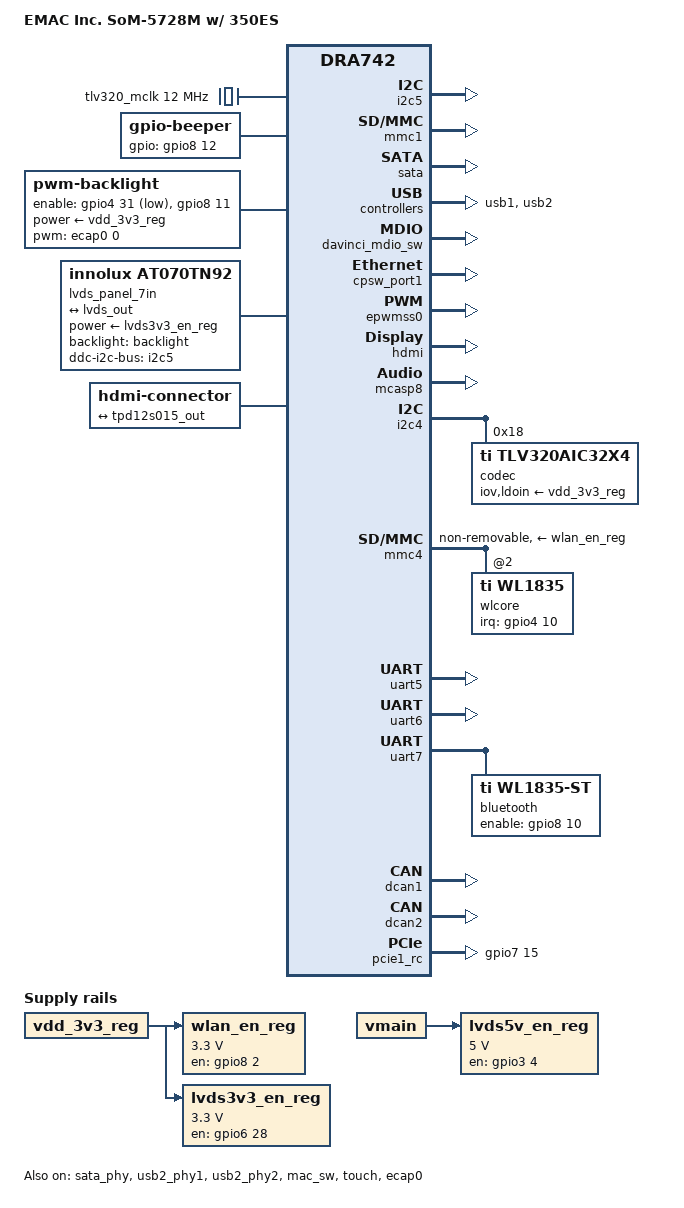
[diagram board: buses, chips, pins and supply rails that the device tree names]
/*
 * Copyright (C) 2023 EMAC Incorporated - http://www.emacinc.com/
 *
 * This program is free software; you can redistribute it and/or modify
 * it under the terms of the GNU General Public License version 2 as
 * published by the Free Software Foundation.
 */
/dts-v1/;

#include "emac-som-5728m.dtsi"

/ {
	model = "EMAC Inc. SoM-5728M w/ 350ES";
	compatible = "emac,som-5728m-350es", "emac,som-5728m", "ti,am5728", "ti,dra742", "ti,dra74", "ti,dra7";
	
	aliases {
		com-a = &uart3;
		com-b = &uart5;
		com-c = &uart6;
		com-d = &uart7;
		display0 = &lvds_panel_7in;
		display1 = &hdmi0_conn;
		display0 = &lvds_panel_10in;
	};

	wlan_en_reg: wlan-en-regulator {
		compatible = "regulator-fixed";
		regulator-name = "wlan-en-regulator";
		regulator-min-microvolt = <3300000>;
		regulator-max-microvolt = <3300000>;
		vin-supply = <&vdd_3v3_reg>;
		gpios = <&gpio8 2 GPIO_ACTIVE_HIGH>;
		startup-delay-us = <100000>;
      	enable-active-high;
	};

	lvds3v3_en_reg: lvds3v3-en-regulator {
		compatible = "regulator-fixed";
		regulator-name = "lvds3v3-en-regulator";
		regulator-min-microvolt = <3300000>;
		regulator-max-microvolt = <3300000>;
		vin-supply = <&vdd_3v3_reg>;
		gpios = <&gpio6 28 GPIO_ACTIVE_HIGH>;
		startup-delay-us = <100000>;
      	enable-active-high;
	};

	lvds5v_en_reg: lvds5v-en-regulator {
		compatible = "regulator-fixed";
		regulator-name = "lvds5v-en-regulator";
		regulator-min-microvolt = <5000000>;
		regulator-max-microvolt = <5000000>;
		vin-supply = <&vmain>;
		gpios = <&gpio3 4 GPIO_ACTIVE_HIGH>;
		startup-delay-us = <100000>;
      	enable-active-high;
	};

	clocks {
		#address-cells = <1>;
		#size-cells = <0>;

		tlv320_mclk: tlv320_mclk {
			#clock-cells = <0>;
			compatible = "fixed-clock";
			clock-frequency = <12000000>;
			clock-output-names = "mclk";
		};
	};
	
	beeper: beeper {
		compatible = "gpio-beeper";
		gpios = <&gpio8 12 GPIO_ACTIVE_HIGH>;
	};

	backlight: backlight {
		compatible = "pwm-backlight";
		pwms = <&ecap0 0 50000 0>;
		power-supply = <&vdd_3v3_reg>;
		enable-gpios = <&gpio4 31 GPIO_ACTIVE_LOW>, <&gpio8 11 GPIO_ACTIVE_HIGH>;
		brightness-levels = <0 10 20 30 40 50 60 70 80 90 100>;
		default-brightness-level = <9>;
	};

	lvds_panel_7in: display {
		compatible = "innolux,at070tn92", "simple-panel";
		backlight = <&backlight>;
		power-supply = <&lvds3v3_en_reg>;
		ddc-i2c-bus = <&i2c5>;
		port {
			lcd_in: endpoint {
				remote-endpoint = <&lvds_out>;
			};
		};
	};
	lvds_panel_10in: display {
		compatible = "innolux,at070tn92", "simple-panel";
		backlight = <&backlight>;
		power-supply = <&lvds5v_en_reg>;
		ddc-i2c-bus = <&i2c5>;
		status = "disabled";
		port {
			lcd_in: endpoint {
				remote-endpoint = <&lvds_out>;
			};
		};
	};

	hdmi0_conn: connector {
		compatible = "hdmi-connector";
		label = "hdmi";
		status = "okay";
		type = "a";

		//native?
		hpd-gpios = <0>;

		port {
			hdmi_connector_in: endpoint {
				remote-endpoint = <&tpd12s015_out>;
			};
		};
	};

	sound {
		compatible = "simple-audio-card";
		simple-audio-card,format = "i2s";
		simple-audio-card,name = "tlv320aic32x4";
		simple-audio-card,bitclock-master = <&codec_master>;
		simple-audio-card,frame-master = <&codec_master>;
		simple-audio-card,bitclock-inversion;
		simple-audio-card,widgets =
			"Microphone", "Microphone Jack",
			"Headphone", "Headphone Jack";
		simple-audio-card,routing =
			"Headphone Jack", "HPL",
			"Headphone Jack", "HPR",
			"IN1_L", "Microphone Jack",
			"IN1_R", "Microphone Jack",
			"Microphone Jack", "Mic Bias";

		cpu_master: simple-audio-card,cpu {
			sound-dai = <&mcasp8>;
		};

		codec_master: simple-audio-card,codec {
			sound-dai = <&codec>;
			clocks = <&tlv320_mclk>;
		};
	};
};

&i2c5 {
	status = "okay";
};

// SD Card
&mmc1 {
	disable-wp;
    status = "okay";
};

// Enable SATA
&sata_phy {
	status = "okay";
};
&sata {
	status = "okay";
};

// usb3.x interface
&usb1 { 
	status = "okay";
};
&usb2_phy1 {
	status = "okay";
};

// usb2.x interface
&usb2 { 
	status = "okay";
};
&usb2_phy2 {
	status = "okay";
};

// Gig ETH
&mac_sw{
	status = "okay";
};

&davinci_mdio_sw {
    status = "okay";
};

&cpsw_port1 {
    status = "okay";
};


// Display info

&lvds_out {
	remote-endpoint = <&lcd_in>;
	status = "okay";
};
&touch {
	status = "okay";
};
&ecap0 {
	status = "okay";
};
&epwmss0 {
	status = "okay";
};

// HDMI
&hdmi {
	status = "okay";
};
&tpd12s015_enc {
	gpios = <0>, /* optional CT_CP_HPD */
			<0>, /* optional LS_OE */
			<&gpio7 12 GPIO_ACTIVE_HIGH>;	/* HPD */
};
&tpd12s015_out {
	remote-endpoint = <&hdmi_connector_in>;
};


// Sound
&mcasp8 {
	status = "okay";
};

&i2c4 {
	status = "okay";
	codec: tlv320aic32x4@18{
		#sound-dai-cells = <0>;
		compatible = "ti,tlv320aic32x4";
		reg = <0x18>;
		clocks = <&tlv320_mclk>;
		clock-names = "mclk";
		iov-supply = <&vdd_3v3_reg>;
		ldoin-supply = <&vdd_3v3_reg>;
		input-use = <1 1 0 0 0 0>;
		cmode = <0x11 0>;
		status = "okay";
	};	
};

// Wifi
&mmc4 {
    status = "okay";
	disable-wp;
	non-removable;
	#address-cells = <1>;
	#size-cells = <0>;
	vmmc-supply = <&wlan_en_reg>;
	cap-power-off-card;
	keep-power-in-suspend;
	wlcore: wlcore@2 {
		compatible = "ti,wl1835";
		reg = <0x2>;
		interrupt-parent = <&gpio4>;
		interrupts = <10 IRQ_TYPE_LEVEL_HIGH>;
	};
};


// uarts
&uart5 {
	status = "okay";
	// DCD, DTR, DSR, and RI pings invalid
	// Pins DTR and RI do not have gpio muxings, instead provide uart 8
};

&uart6 {
	status = "okay";
};

&uart7 {
	status = "okay";
	bluetooth {
		compatible = "ti,wl1835-st";
		enable-gpios = <&gpio8 10 GPIO_ACTIVE_HIGH>;
	};
};

/*
 * Can
 */
&dcan1 {
    status = "okay";
};

&dcan2 {
    status = "okay";
};

&pcie1_rc {
	gpios = <&gpio7 15 GPIO_ACTIVE_LOW>;
	status = "okay";
};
